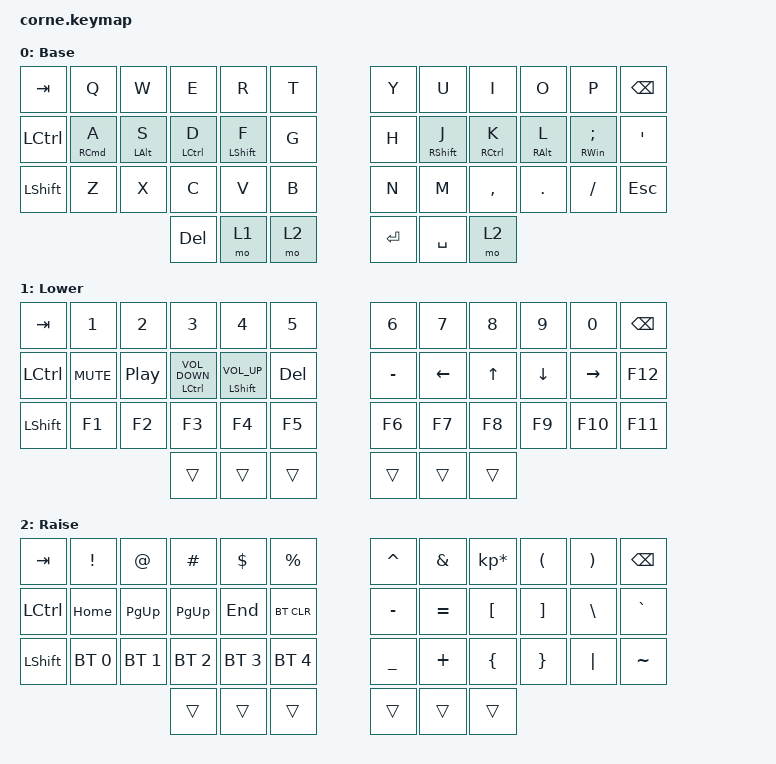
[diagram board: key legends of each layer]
/*
 * Copyright (c) 2020 The ZMK Contributors
 *
 * SPDX-License-Identifier: MIT
 */

#include <behaviors.dtsi>
#include <dt-bindings/zmk/bt.h>
#include <dt-bindings/zmk/keys.h>

/ {
    behaviors {
        hmshiftR: hmshiftR {
            compatible = "zmk,behavior-hold-tap";
            label = "HMSHIFTR";
            bindings = <&kp>, <&kp>;

            #binding-cells = <2>;
            tapping-term-ms = <200>;
            hold-while-undecided;
            hold-trigger-key-positions = <0 1 2 3 4 5 17 16 15 14 13 12 24 25 27 26 28 29 36 37 38>;
            hold-trigger-on-release;
        };

        hmshiftL: hmshiftL {
            compatible = "zmk,behavior-hold-tap";
            label = "HMSHIFTL";
            bindings = <&kp>, <&kp>;

            #binding-cells = <2>;
            tapping-term-ms = <200>;
            hold-while-undecided;
            hold-trigger-on-release;
            hold-trigger-key-positions = <19 6 7 8 9 11 10 18 30 31 32 20 21 22 23 34 35 33 41 40 39>;
        };

        HMR: HMR {
            compatible = "zmk,behavior-hold-tap";
            label = "HMR";
            bindings = <&kp>, <&kp>;

            #binding-cells = <2>;
            tapping-term-ms = <250>;
            hold-while-undecided;
            hold-trigger-key-positions = <0 1 2 3 4 5 17 16 15 14 13 12 24 25 27 26 28 29 36 37 38>;
            hold-trigger-on-release;
            flavor = "tap-preferred";
        };

        HML: HML {
            compatible = "zmk,behavior-hold-tap";
            label = "HML";
            bindings = <&kp>, <&kp>;

            #binding-cells = <2>;
            tapping-term-ms = <250>;
            hold-trigger-on-release;
            hold-trigger-key-positions = <19 6 7 8 9 11 10 18 30 31 32 20 21 22 23 34 35 33 41 40 39>;
            flavor = "tap-preferred";
            require-prior-idle-ms = <100>;
        };

        RHMv2: RHMv2 {
            compatible = "zmk,behavior-hold-tap";
            label = "RHMV2";
            bindings = <&kp>, <&kp>;

            #binding-cells = <2>;
            hold-trigger-key-positions = <0 1 2 3 4 5 12 13 14 15 16 17 24 25 26 27 28 29 36 37 38>;
            tapping-term-ms = <300>;
            flavor = "tap-preferred";
        };

        LHMv2: LHMv2 {
            compatible = "zmk,behavior-hold-tap";
            label = "LHMV2";
            bindings = <&kp>, <&kp>;

            #binding-cells = <2>;
            tapping-term-ms = <300>;
            flavor = "tap-preferred";
            hold-trigger-key-positions = <6 7 8 9 10 11 18 19 20 21 22 23 30 31 32 33 34 35 39 40 41>;
        };
    };

    keymap {
        compatible = "zmk,keymap";

        default_layer {
            // -----------------------------------------------------------------------------------------
            // |  TAB |  Q  |  W  |  E  |  R  |  T  |   |  Y  |  U   |  I  |  O  |  P  | BKSP |
            // | CTRL |  A  |  S  |  D  |  F  |  G  |   |  H  |  J   |  K  |  L  |  ;  |  '   |
            // | SHFT |  Z  |  X  |  C  |  V  |  B  |   |  N  |  M   |  ,  |  .  |  /  | ESC  |
            //                    | GUI | LWR | SPC |   | ENT | RSE  | ALT |

            display-name = "Base";
            bindings = <
&kp TAB    &kp Q          &kp W              &kp E                &kp R                   &kp T    &kp Y    &kp U                    &kp I                 &kp O               &kp P                       &kp BSPC
&kp LCTRL  &LHMv2 RCMD A  &LHMv2 LEFT_ALT S  &HML LEFT_CONTROL D  &hmshiftL LEFT_SHIFT F  &kp G    &kp H    &hmshiftR RIGHT_SHIFT J  &HMR RIGHT_CONTROL K  &RHMv2 RIGHT_ALT L  &RHMv2 RIGHT_WIN SEMICOLON  &kp SQT
&kp LSHFT  &kp Z          &kp X              &kp C                &kp V                   &kp B    &kp N    &kp M                    &kp COMMA             &kp DOT             &kp FSLH                    &kp ESC
                                             &kp DELETE           &mo 1                   &mo 2    &kp RET  &kp SPACE                &mo 2
            >;
        };

        lower_layer {
            // -----------------------------------------------------------------------------------------
            // |  TAB |  1  |  2  |  3  |  4  |  5  |   |  6  |  7  |  8  |  9  |  0  | BKSP |
            // | BTCLR| BT1 | BT2 | BT3 | BT4 | BT5 |   | LFT | DWN |  UP | RGT |     |      |
            // | SHFT |     |     |     |     |     |   |     |     |     |     |     |      |
            //                    | GUI |     | SPC |   | ENT |     | ALT |

            display-name = "Lower";
            bindings = <
&kp TAB           &kp N1      &kp N2            &kp N3                                &kp N4                            &kp N5        &kp N6     &kp N7          &kp N8  &kp N9          &kp N0     &kp BSPC
&kp LEFT_CONTROL  &kp C_MUTE  &kp C_PLAY_PAUSE  &hmshiftL LEFT_CONTROL C_VOLUME_DOWN  &hmshiftL LEFT_SHIFT C_VOLUME_UP  &kp DELETE    &kp MINUS  &kp LEFT_ARROW  &kp UP  &kp DOWN_ARROW  &kp RIGHT  &kp F12
&kp LSHFT         &kp F1      &kp F2            &kp F3                                &kp F4                            &kp F5        &kp F6     &kp F7          &kp F8  &kp F9          &kp F10    &kp F11
                                                &trans                                &trans                            &trans        &trans     &trans          &trans
            >;
        };

        raise_layer {
            // -----------------------------------------------------------------------------------------
            // |  TAB |  !  |  @  |  #  |  $  |  %  |   |  ^  |  &  |  *  |  (  |  )  | BKSP |
            // | CTRL |     |     |     |     |     |   |  -  |  =  |  [  |  ]  |  \  |  `   |
            // | SHFT |     |     |     |     |     |   |  _  |  +  |  {  |  }  | "|" |  ~   |
            //                    | GUI |     | SPC |   | ENT |     | ALT |

            display-name = "Raise";
            bindings = <
&kp TAB    &kp EXCL      &kp AT        &kp HASH      &kp DLLR      &kp PRCNT       &kp CARET  &kp AMPS   &kp KP_MULTIPLY  &kp LPAR  &kp RPAR  &kp BSPC
&kp LCTRL  &kp HOME      &kp PAGE_UP   &kp PAGE_UP   &kp END       &bt BT_CLR      &kp MINUS  &kp EQUAL  &kp LBKT         &kp RBKT  &kp BSLH  &kp GRAVE
&kp LSHFT  &bt BT_SEL 0  &bt BT_SEL 1  &bt BT_SEL 2  &bt BT_SEL 3  &bt BT_SEL 4    &kp UNDER  &kp PLUS   &kp LBRC         &kp RBRC  &kp PIPE  &kp TILDE
                                       &trans        &trans        &trans          &trans     &trans     &trans
            >;
        };

        extra_1 { status = "reserved"; };

        extra_2 { status = "reserved"; };

        extra_3 { status = "reserved"; };
    };
};
